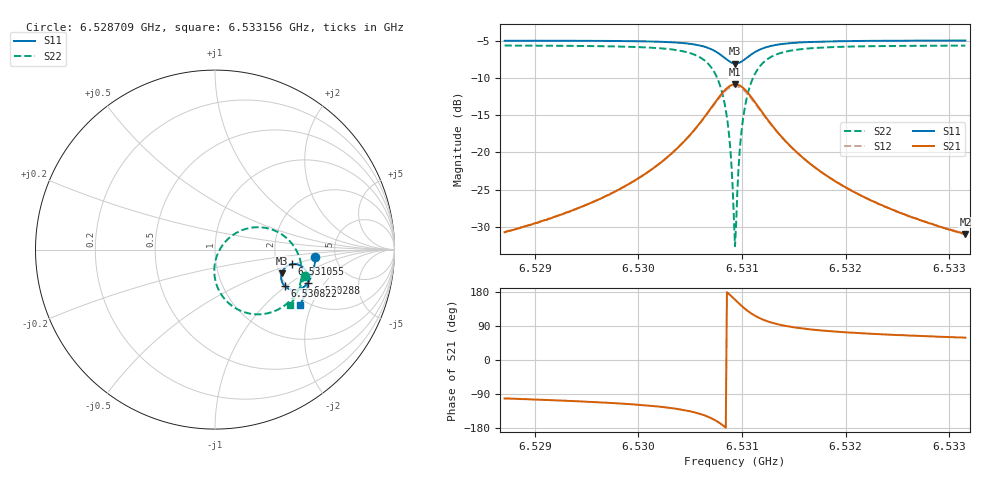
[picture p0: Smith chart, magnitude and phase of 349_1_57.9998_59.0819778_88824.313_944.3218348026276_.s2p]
#  HZ  S  RI  R  50.00
! Rohde & Schwarz Vector Network Analyzer
! Rohde-Schwarz,ZNB20-2Port,1311601062101988,3.16
! Created: UTC 3/21/2024, 1:05:56 AM
! freq[Hz]  re:S11  im:S11  re:S21  im:S21  re:S12  im:S12  re:S22  im:S22
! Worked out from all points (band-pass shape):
!   401 points, 6.528709 GHz to 6.533156 GHz, reference 50 ohm
!   highest |S21| = -10.87 dB at 6.530933 GHz (marker M1); lowest = -31.0 dB at 6.533156 GHz (marker M2)
!   |S21| within 3 dB of the highest: 6.530712 GHz to 6.531156 GHz (444.3 kHz wide, 0.0068 % of centre)
!   lowest |S11| = -8.1 dB at 6.530933 GHz (marker M3), VSWR 2.30, Z = 102 - j32.1 ohm
!   |S11| at or under -10 dB: nowhere
!   |S22| runs from -32.6 to -5.7 dB; largest |S21 - S12| = 0.011
!   S11 on the Smith chart (normalised r, x): 6.528709 GHz: 3.50, -0.42; 6.530288 GHz: 2.62, -1.38; 6.530822 GHz: 1.94, -0.97; 6.531055 GHz: 2.43, -0.49; 6.533156 GHz: 1.82, -1.65
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6.5287094e9  0.5598 -0.0415  -0.00586 -0.0284  -0.0063 -0.0284  0.5004 -0.1446
6.5294542e9  0.5511 -0.1023  -0.0143 -0.0408  -0.0153 -0.0404  0.4722 -0.212
6.530199e9  0.5247 -0.1739  -0.0454 -0.07  -0.0472 -0.0688  0.3961 -0.3051
6.5302879e9  0.5179 -0.1843  -0.0549 -0.076  -0.0569 -0.0746  0.3763 -0.3195
6.5304992e9  0.492 -0.21  -0.0929 -0.0919  -0.0957 -0.0889  0.3001 -0.3534
6.5306548e9  0.4547 -0.2253  -0.1514 -0.095  -0.1535 -0.0892  0.1923 -0.3563
6.5307548e9  0.4159 -0.2211  -0.2112 -0.0722  -0.2107 -0.0637  0.0901 -0.3098
6.5308215e9  0.3872 -0.2017  -0.2538 -0.0285  -0.2499 -0.0194  0.0232 -0.2298
6.5308771e9  0.3706 -0.1711  -0.2756 0.031  -0.2681 0.0384  -0.00386 -0.1271
6.5309105e9  0.3685 -0.1483  -0.2751 0.0734  -0.2659 0.0788  0.00353 -0.0571
6.5309216e9  0.3694 -0.1404  -0.2721 0.0876  -0.2627 0.0921  0.0106 -0.0342
6.5309327e9  0.371 -0.1326  -0.2676 0.1016  -0.258 0.1053  0.0201 -0.0119
6.5309438e9  0.3736 -0.1252  -0.2618 0.115  -0.2523 0.1178  0.0319 0.00931
6.5309549e9  0.3771 -0.118  -0.2546 0.1279  -0.2452 0.1297  0.0453 0.0291
6.5309772e9  0.3859 -0.1051  -0.2374 0.1506  -0.2282 0.1509  0.0777 0.0639
6.5309994e9  0.3969 -0.095  -0.2165 0.1689  -0.2082 0.1679  0.1146 0.0907
6.531055e9  0.4281 -0.0813  -0.16 0.1941  -0.1543 0.1915  0.2127 0.1234
6.5311328e9  0.4664 -0.0847  -0.0926 0.1924  -0.0895 0.19  0.3263 0.1084
6.5312439e9  0.4987 -0.1071  -0.0356 0.163  -0.0341 0.1615  0.4188 0.0448
6.5316775e9  0.52 -0.1828  0.0139 0.0805  0.0148 0.0803  0.4829 -0.1308
6.5324223e9  0.4996 -0.2556  0.0164 0.0386  0.0172 0.0384  0.4552 -0.246
6.5331559e9  0.4712 -0.3092  0.0146 0.0242  0.015 0.0238  0.4197 -0.3081
